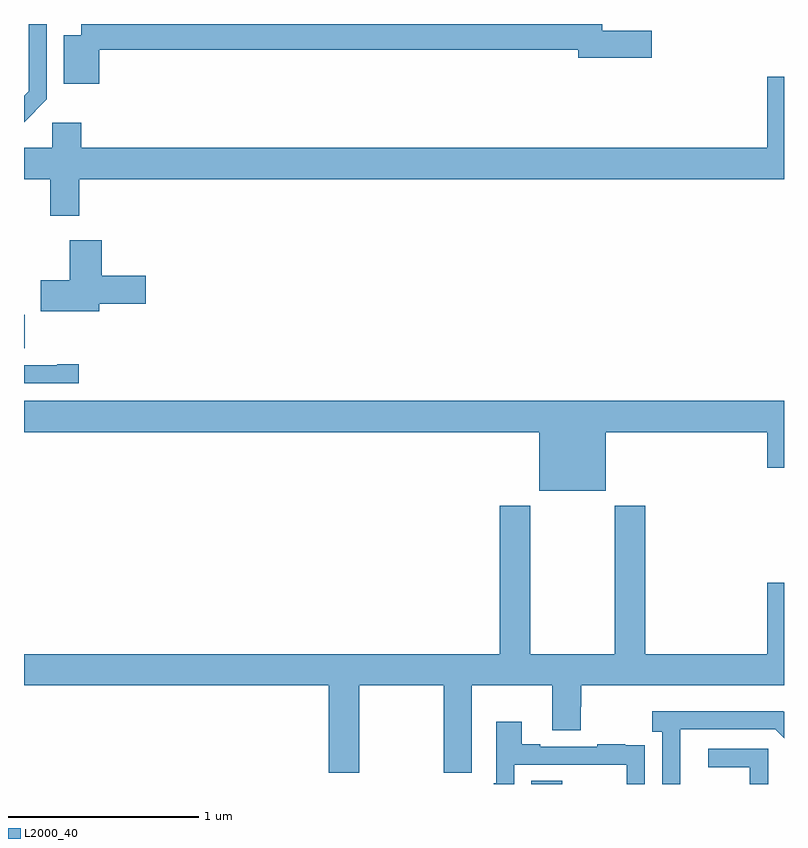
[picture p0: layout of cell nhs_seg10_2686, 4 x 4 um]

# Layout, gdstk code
import gdstk
lib = gdstk.Library(unit=1e-6, precision=1e-09)
def R(c, l, rs):  # rectangles x0, y0, x1, y1
    for r in rs: c.add(gdstk.rectangle(r[:2], r[2:], *l))
def P(c, l, *ps):  # polygons
    for p in ps: c.add(gdstk.Polygon(p, *l))
L2000_40 = (2000, 40)

nhs_seg10_2686 = lib.new_cell('nhs_seg10_2686')
R(nhs_seg10_2686, L2000_40, [(259.67,1262.5,259.834,1262.516), (257,1264.793,257.005,1264.969)])
P(nhs_seg10_2686, L2000_40, [(257.397,1266.364),(259.916,1266.364),(259.916,1266.322),(260.305,1266.322),(260.305,1266.464),(260.044,1266.464),(260.044,1266.5),(257.3,1266.5),(257.3,1266.442),(257.21,1266.442),(257.21,1266.185),(257.397,1266.185)],
  [(257.121,1266.105),(257.121,1266.5),(257.025,1266.5),(257.025,1266.147),(257,1266.122),(257,1265.984)],
  [(257.291,1265.684),(261,1265.684),(261,1266.223),(260.912,1266.223),(260.912,1265.848),(257.3,1265.848),(257.3,1265.98),(257.148,1265.98),(257.148,1265.848),(257,1265.848),(257,1265.684),(257.138,1265.684),(257.138,1265.49),(257.291,1265.49)],
  [(257.395,1265.027),(257.641,1265.027),(257.641,1265.174),(257.408,1265.174),(257.408,1265.362),(257.24,1265.362),(257.24,1265.151),(257.088,1265.151),(257.088,1264.988),(257.395,1264.988)],
  [(257.287,1264.709),(257.174,1264.709),(257.174,1264.704),(257,1264.704),(257,1264.608),(257.287,1264.608)],
  [(260.062,1264.352),(260.912,1264.352),(260.912,1264.164),(261,1264.164),(261,1264.516),(257,1264.516),(257,1264.352),(259.712,1264.352),(259.712,1264.043),(260.062,1264.043)],
  [(258.765,1263.02),(259.21,1263.02),(259.21,1262.559),(259.357,1262.559),(259.357,1263.02),(259.781,1263.02),(259.781,1262.782),(259.929,1262.782),(259.929,1262.907),(259.934,1262.907),(259.934,1263.02),(261,1263.02),(261,1263.559),(260.912,1263.559),(260.912,1263.184),(260.27,1263.184),(260.27,1263.964),(260.11,1263.964),(260.11,1263.184),(259.665,1263.184),(259.665,1263.964),(259.505,1263.964),(259.505,1263.184),(257,1263.184),(257,1263.02),(258.605,1263.02),(258.605,1262.559),(258.765,1262.559)],
  [(260.454,1262.587),(260.455,1262.587),(260.455,1262.787),(260.955,1262.787),(261,1262.742),(261,1262.88),(260.996,1262.884),(260.307,1262.884),(260.307,1262.774),(260.358,1262.774),(260.358,1262.5),(260.454,1262.5)],
  [(259.581,1262.601),(260.172,1262.601),(260.172,1262.5),(260.268,1262.5),(260.268,1262.594),(260.267,1262.594),(260.267,1262.703),(260.165,1262.703),(260.165,1262.71),(260.017,1262.71),(260.017,1262.697),(259.717,1262.697),(259.717,1262.71),(259.621,1262.71),(259.621,1262.827),(259.485,1262.827),(259.485,1262.504),(259.473,1262.504),(259.473,1262.5),(259.581,1262.5)],
  [(260.916,1262.685),(260.601,1262.685),(260.601,1262.589),(260.82,1262.589),(260.82,1262.5),(260.916,1262.5)])

lib.write_gds('nhs_seg10_2686.gds')
